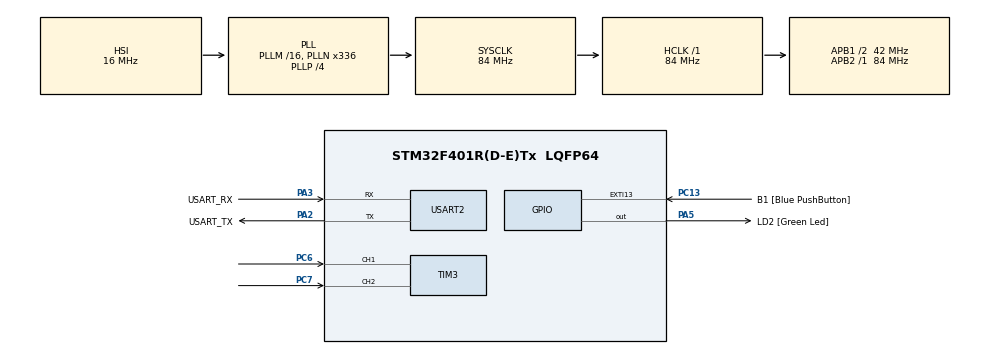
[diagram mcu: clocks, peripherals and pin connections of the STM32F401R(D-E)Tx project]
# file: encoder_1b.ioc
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Dma.Request0=USART2_TX
Dma.USART2_TX.0.Direction=DMA_MEMORY_TO_PERIPH
Dma.USART2_TX.0.FIFOMode=DMA_FIFOMODE_DISABLE
Dma.USART2_TX.0.Instance=DMA1_Stream6
Dma.USART2_TX.0.MemDataAlignment=DMA_MDATAALIGN_BYTE
Dma.USART2_TX.0.MemInc=DMA_MINC_ENABLE
Dma.USART2_TX.0.Mode=DMA_NORMAL
Dma.USART2_TX.0.PeriphDataAlignment=DMA_PDATAALIGN_BYTE
Dma.USART2_TX.0.PeriphInc=DMA_PINC_DISABLE
Dma.USART2_TX.0.Priority=DMA_PRIORITY_LOW
Mcu.Family=STM32F4
Mcu.Name=STM32F401R(D-E)Tx
Mcu.Package=LQFP64
NVIC.DMA1_Stream6_IRQn=true\:0\:0\:false\:false\:true\:false\:true\:true
NVIC.PriorityGroup=NVIC_PRIORITYGROUP_0
NVIC.TIM2_IRQn=true\:0\:0\:false\:false\:true\:true\:true\:true
NVIC.USART2_IRQn=true\:0\:0\:false\:false\:true\:true\:true\:true
PA13.GPIO_Label=TMS
PA13.Mode=Serial_Wire
PA13.Signal=SYS_JTMS-SWDIO
PA14.GPIO_Label=TCK
PA14.Mode=Serial_Wire
PA14.Signal=SYS_JTCK-SWCLK
PA2.GPIO_Label=USART_TX
PA2.GPIO_Mode=GPIO_MODE_AF_PP
PA2.GPIO_PuPd=GPIO_NOPULL
PA2.GPIO_Speed=GPIO_SPEED_FREQ_LOW
PA2.Mode=Asynchronous
PA2.Signal=USART2_TX
PA3.GPIO_Label=USART_RX
PA3.GPIO_Mode=GPIO_MODE_AF_PP
PA3.GPIO_PuPd=GPIO_NOPULL
PA3.GPIO_Speed=GPIO_SPEED_FREQ_LOW
PA3.Mode=Asynchronous
PA3.Signal=USART2_RX
PA5.GPIO_Label=LD2 [Green Led]
PA5.GPIO_Mode=GPIO_MODE_OUTPUT_PP
PA5.GPIO_PuPd=GPIO_NOPULL
PA5.GPIO_Speed=GPIO_SPEED_FREQ_LOW
PA5.Signal=GPIO_Output
PB3.GPIO_Label=SWO
PB3.Signal=SYS_JTDO-SWO
PC13-ANTI_TAMP.GPIO_Label=B1 [Blue PushButton]
PC13-ANTI_TAMP.GPIO_ModeDefaultEXTI=GPIO_MODE_IT_FALLING
PC13-ANTI_TAMP.GPIO_PuPd=GPIO_NOPULL
PC13-ANTI_TAMP.Signal=GPXTI13
PC14-OSC32_IN.Mode=LSE-External-Oscillator
PC14-OSC32_IN.Signal=RCC_OSC32_IN
PC15-OSC32_OUT.Mode=LSE-External-Oscillator
PC15-OSC32_OUT.Signal=RCC_OSC32_OUT
PC6.Signal=S_TIM3_CH1
PC7.Signal=S_TIM3_CH2
PH0\ -\ OSC_IN.Mode=HSE-External-Clock-Source
PH0\ -\ OSC_IN.Signal=RCC_OSC_IN
PH1\ -\ OSC_OUT.Mode=HSE-External-Clock-Source
PH1\ -\ OSC_OUT.Signal=RCC_OSC_OUT
ProjectManager.HeapSize=0x200
ProjectManager.StackSize=0x400
ProjectManager.TargetToolchain=STM32CubeIDE
RCC.48MHZClocksFreq_Value=48000000
RCC.AHBFreq_Value=84000000
RCC.APB1CLKDivider=RCC_HCLK_DIV2
RCC.APB1Freq_Value=42000000
RCC.APB1TimFreq_Value=84000000
RCC.APB2Freq_Value=84000000
RCC.APB2TimFreq_Value=84000000
RCC.CortexFreq_Value=84000000
RCC.HCLKFreq_Value=84000000
RCC.HSE_VALUE=8000000
RCC.HSI_VALUE=16000000
RCC.PLLN=336
RCC.PLLP=RCC_PLLP_DIV4
RCC.PLLQ=7
RCC.SYSCLKFreq_VALUE=84000000
RCC.SYSCLKSource=RCC_SYSCLKSOURCE_PLLCLK
RCC.VCOOutputFreq_Value=336000000
SH.S_TIM3_CH1.0=TIM3_CH1,Encoder_Interface
SH.S_TIM3_CH2.0=TIM3_CH2,Encoder_Interface
TIM2.AutoReloadPreload=TIM_AUTORELOAD_PRELOAD_ENABLE
TIM2.Period=1000000-1
TIM2.Prescaler=84-1
USART2.VirtualMode=VM_ASYNC
VP_TIM2_VS_ClockSourceINT.Mode=Internal
board=NUCLEO-F401RE

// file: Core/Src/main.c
/* USER CODE BEGIN Header */
/**
  ******************************************************************************
  * @file           : main.c
  * @brief          : Main program body
  ******************************************************************************
  * @attention
  *
  * Copyright (c) 2022 STMicroelectronics.
  * All rights reserved.
  *
  * This software is licensed under terms that can be found in the LICENSE file
  * in the root directory of this software component.
  * If no LICENSE file comes with this software, it is provided AS-IS.
  *
  ******************************************************************************
  */
/* USER CODE END Header */
#include "main.h"

/* USER CODE BEGIN Includes */
#include <string.h>
#include <stdio.h>
/* USER CODE END Includes */

TIM_HandleTypeDef htim2;
TIM_HandleTypeDef htim3;

UART_HandleTypeDef huart2;
DMA_HandleTypeDef hdma_usart2_tx;

/* USER CODE BEGIN PV */
uint16_t old_pos = 0, new_pos = 0;
int delta;
float speed;
char string[64];
/* USER CODE END PV */

void SystemClock_Config(void);
static void MX_GPIO_Init(void);
static void MX_DMA_Init(void);
static void MX_USART2_UART_Init(void);
static void MX_TIM2_Init(void);
static void MX_TIM3_Init(void);

int main(void)
{

  /* MCU Configuration--------------------------------------------------------*/

  /* Reset of all peripherals, Initializes the Flash interface and the Systick. */
  HAL_Init();

  /* Configure the system clock */
  SystemClock_Config();

  /* Initialize all configured peripherals */
  MX_GPIO_Init();
  MX_DMA_Init();
  MX_USART2_UART_Init();
  MX_TIM2_Init();
  MX_TIM3_Init();
  /* USER CODE BEGIN 2 */
  HAL_TIM_Base_Start_IT(&htim2);
  HAL_TIM_Encoder_Start(&htim3, TIM_CHANNEL_ALL);
  /* USER CODE END 2 */

  /* Infinite loop */
  while (1)
  {

  }
}

void SystemClock_Config(void)
{
  RCC_OscInitTypeDef RCC_OscInitStruct = {0};
  RCC_ClkInitTypeDef RCC_ClkInitStruct = {0};

  /** Configure the main internal regulator output voltage
  */
  __HAL_RCC_PWR_CLK_ENABLE();
  __HAL_PWR_VOLTAGESCALING_CONFIG(PWR_REGULATOR_VOLTAGE_SCALE2);

  /** Initializes the RCC Oscillators according to the specified parameters
  * in the RCC_OscInitTypeDef structure.
  */
  RCC_OscInitStruct.OscillatorType = RCC_OSCILLATORTYPE_HSI;
  RCC_OscInitStruct.HSIState = RCC_HSI_ON;
  RCC_OscInitStruct.HSICalibrationValue = RCC_HSICALIBRATION_DEFAULT;
  RCC_OscInitStruct.PLL.PLLState = RCC_PLL_ON;
  RCC_OscInitStruct.PLL.PLLSource = RCC_PLLSOURCE_HSI;
  RCC_OscInitStruct.PLL.PLLM = 16;
  RCC_OscInitStruct.PLL.PLLN = 336;
  RCC_OscInitStruct.PLL.PLLP = RCC_PLLP_DIV4;
  RCC_OscInitStruct.PLL.PLLQ = 7;
  if (HAL_RCC_OscConfig(&RCC_OscInitStruct) != HAL_OK)
  {
    Error_Handler();
  }

  /** Initializes the CPU, AHB and APB buses clocks
  */
  RCC_ClkInitStruct.ClockType = RCC_CLOCKTYPE_HCLK|RCC_CLOCKTYPE_SYSCLK
                              |RCC_CLOCKTYPE_PCLK1|RCC_CLOCKTYPE_PCLK2;
  RCC_ClkInitStruct.SYSCLKSource = RCC_SYSCLKSOURCE_PLLCLK;
  RCC_ClkInitStruct.AHBCLKDivider = RCC_SYSCLK_DIV1;
  RCC_ClkInitStruct.APB1CLKDivider = RCC_HCLK_DIV2;
  RCC_ClkInitStruct.APB2CLKDivider = RCC_HCLK_DIV1;

  if (HAL_RCC_ClockConfig(&RCC_ClkInitStruct, FLASH_LATENCY_2) != HAL_OK)
  {
    Error_Handler();
  }
}

static void MX_TIM2_Init(void)
{

  TIM_ClockConfigTypeDef sClockSourceConfig = {0};
  TIM_MasterConfigTypeDef sMasterConfig = {0};

  htim2.Instance = TIM2;
  htim2.Init.Prescaler = 84-1;
  htim2.Init.CounterMode = TIM_COUNTERMODE_UP;
  htim2.Init.Period = 1000000-1;
  htim2.Init.ClockDivision = TIM_CLOCKDIVISION_DIV1;
  htim2.Init.AutoReloadPreload = TIM_AUTORELOAD_PRELOAD_ENABLE;
  if (HAL_TIM_Base_Init(&htim2) != HAL_OK)
  {
    Error_Handler();
  }
  sClockSourceConfig.ClockSource = TIM_CLOCKSOURCE_INTERNAL;
  if (HAL_TIM_ConfigClockSource(&htim2, &sClockSourceConfig) != HAL_OK)
  {
    Error_Handler();
  }
  sMasterConfig.MasterOutputTrigger = TIM_TRGO_RESET;
  sMasterConfig.MasterSlaveMode = TIM_MASTERSLAVEMODE_DISABLE;
  if (HAL_TIMEx_MasterConfigSynchronization(&htim2, &sMasterConfig) != HAL_OK)
  {
    Error_Handler();
  }

}

static void MX_TIM3_Init(void)
{

  TIM_Encoder_InitTypeDef sConfig = {0};
  TIM_MasterConfigTypeDef sMasterConfig = {0};

  htim3.Instance = TIM3;
  htim3.Init.Prescaler = 0;
  htim3.Init.CounterMode = TIM_COUNTERMODE_UP;
  htim3.Init.Period = 65535;
  htim3.Init.ClockDivision = TIM_CLOCKDIVISION_DIV1;
  htim3.Init.AutoReloadPreload = TIM_AUTORELOAD_PRELOAD_DISABLE;
  sConfig.EncoderMode = TIM_ENCODERMODE_TI1;
  sConfig.IC1Polarity = TIM_ICPOLARITY_RISING;
  sConfig.IC1Selection = TIM_ICSELECTION_DIRECTTI;
  sConfig.IC1Prescaler = TIM_ICPSC_DIV1;
  sConfig.IC1Filter = 0;
  sConfig.IC2Polarity = TIM_ICPOLARITY_RISING;
  sConfig.IC2Selection = TIM_ICSELECTION_DIRECTTI;
  sConfig.IC2Prescaler = TIM_ICPSC_DIV1;
  sConfig.IC2Filter = 0;
  if (HAL_TIM_Encoder_Init(&htim3, &sConfig) != HAL_OK)
  {
    Error_Handler();
  }
  sMasterConfig.MasterOutputTrigger = TIM_TRGO_RESET;
  sMasterConfig.MasterSlaveMode = TIM_MASTERSLAVEMODE_DISABLE;
  if (HAL_TIMEx_MasterConfigSynchronization(&htim3, &sMasterConfig) != HAL_OK)
  {
    Error_Handler();
  }

}

static void MX_USART2_UART_Init(void)
{

  huart2.Instance = USART2;
  huart2.Init.BaudRate = 115200;
  huart2.Init.WordLength = UART_WORDLENGTH_8B;
  huart2.Init.StopBits = UART_STOPBITS_1;
  huart2.Init.Parity = UART_PARITY_NONE;
  huart2.Init.Mode = UART_MODE_TX_RX;
  huart2.Init.HwFlowCtl = UART_HWCONTROL_NONE;
  huart2.Init.OverSampling = UART_OVERSAMPLING_16;
  if (HAL_UART_Init(&huart2) != HAL_OK)
  {
    Error_Handler();
  }

}

static void MX_DMA_Init(void)
{

  /* DMA controller clock enable */
  __HAL_RCC_DMA1_CLK_ENABLE();

  /* DMA interrupt init */
  /* DMA1_Stream6_IRQn interrupt configuration */
  HAL_NVIC_SetPriority(DMA1_Stream6_IRQn, 0, 0);
  HAL_NVIC_EnableIRQ(DMA1_Stream6_IRQn);

}

static void MX_GPIO_Init(void)
{
  GPIO_InitTypeDef GPIO_InitStruct = {0};

  /* GPIO Ports Clock Enable */
  __HAL_RCC_GPIOC_CLK_ENABLE();
  __HAL_RCC_GPIOH_CLK_ENABLE();
  __HAL_RCC_GPIOA_CLK_ENABLE();
  __HAL_RCC_GPIOB_CLK_ENABLE();

  /*Configure GPIO pin Output Level */
  HAL_GPIO_WritePin(LD2_GPIO_Port, LD2_Pin, GPIO_PIN_RESET);

  /*Configure GPIO pin : B1_Pin */
  GPIO_InitStruct.Pin = B1_Pin;
  GPIO_InitStruct.Mode = GPIO_MODE_IT_FALLING;
  GPIO_InitStruct.Pull = GPIO_NOPULL;
  HAL_GPIO_Init(B1_GPIO_Port, &GPIO_InitStruct);

  /*Configure GPIO pin : LD2_Pin */
  GPIO_InitStruct.Pin = LD2_Pin;
  GPIO_InitStruct.Mode = GPIO_MODE_OUTPUT_PP;
  GPIO_InitStruct.Pull = GPIO_NOPULL;
  GPIO_InitStruct.Speed = GPIO_SPEED_FREQ_LOW;
  HAL_GPIO_Init(LD2_GPIO_Port, &GPIO_InitStruct);

}

/* USER CODE BEGIN 4 */
void HAL_TIM_PeriodElapsedCallback(TIM_HandleTypeDef *htim){
	if(htim == &htim2){
		old_pos = new_pos;
		new_pos = __HAL_TIM_GET_COUNTER(&htim3);
		delta = new_pos - old_pos;

		if(delta > 32768)
			delta -= 65536;
		else if(delta < -32768)
			delta += 65536;

		//a rotation is 24 units and because the encoder is read every second,
		//it's enough to multiply by 60 to get the rpm
		speed = (delta/24.0)*60;
		snprintf(string, 64, "rpm: %.3f\r\n", speed);
		HAL_UART_Transmit_DMA(&huart2, string, strlen(string));
	}
}
/* USER CODE END 4 */

void Error_Handler(void)
{
  __disable_irq();
  while (1)
  {
  }
}
